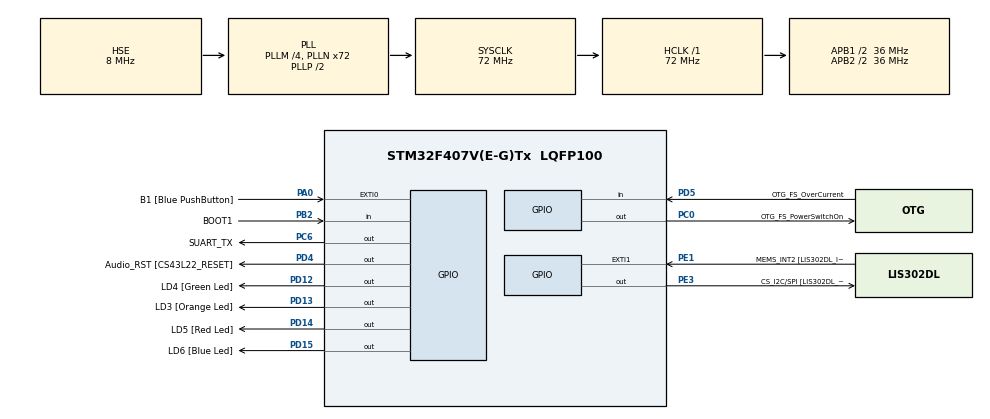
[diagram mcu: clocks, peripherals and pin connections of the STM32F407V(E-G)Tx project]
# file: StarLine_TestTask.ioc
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Mcu.Family=STM32F4
Mcu.Name=STM32F407V(E-G)Tx
Mcu.Package=LQFP100
NVIC.HASH_RNG_IRQn=true\:0\:0\:false\:false\:true\:true\:true
NVIC.PriorityGroup=NVIC_PRIORITYGROUP_0
NVIC.TIM8_TRG_COM_TIM14_IRQn=true\:0\:0\:false\:false\:true\:true\:true
PA0-WKUP.GPIO_Label=B1 [Blue PushButton]
PA0-WKUP.Signal=GPXTI0
PA10.GPIO_Label=OTG_FS_ID
PA10.GPIO_Mode=GPIO_MODE_AF_PP
PA10.GPIO_PuPd=GPIO_NOPULL
PA10.GPIO_Speed=GPIO_SPEED_FREQ_LOW
PA10.Signal=USB_OTG_FS_ID
PA11.GPIO_Label=OTG_FS_DM
PA11.GPIO_Mode=GPIO_MODE_AF_PP
PA11.GPIO_PuPd=GPIO_NOPULL
PA11.GPIO_Speed=GPIO_SPEED_FREQ_LOW
PA11.Signal=USB_OTG_FS_DM
PA12.GPIO_Label=OTG_FS_DP
PA12.GPIO_Mode=GPIO_MODE_AF_PP
PA12.GPIO_PuPd=GPIO_NOPULL
PA12.GPIO_Speed=GPIO_SPEED_FREQ_LOW
PA12.Signal=USB_OTG_FS_DP
PA13.GPIO_Label=SWDIO
PA13.Mode=Trace_Asynchronous_SW
PA13.Signal=SYS_JTMS-SWDIO
PA14.GPIO_Label=SWCLK
PA14.Mode=Trace_Asynchronous_SW
PA14.Signal=SYS_JTCK-SWCLK
PA4.GPIO_Label=I2S3_WS [CS43L22_LRCK]
PA4.GPIO_Mode=GPIO_MODE_AF_PP
PA4.GPIO_PuPd=GPIO_NOPULL
PA4.GPIO_Speed=GPIO_SPEED_FREQ_LOW
PA4.Signal=I2S3_WS
PA5.GPIO_Label=SPI1_SCK [LIS302DL_SCL/SPC]
PA5.GPIO_Mode=GPIO_MODE_AF_PP
PA5.GPIO_PuPd=GPIO_NOPULL
PA5.GPIO_Speed=GPIO_SPEED_FREQ_LOW
PA5.Signal=SPI1_SCK
PA6.GPIO_Label=SPI1_MISO [LIS302DL_SDO]
PA6.GPIO_Mode=GPIO_MODE_AF_PP
PA6.GPIO_PuPd=GPIO_NOPULL
PA6.GPIO_Speed=GPIO_SPEED_FREQ_LOW
PA6.Signal=SPI1_MISO
PA7.GPIO_Label=SPI1_MOSI [LIS302DL_SDA/SDI/SDO]
PA7.GPIO_Mode=GPIO_MODE_AF_PP
PA7.GPIO_PuPd=GPIO_NOPULL
PA7.GPIO_Speed=GPIO_SPEED_FREQ_LOW
PA7.Signal=SPI1_MOSI
PA9.GPIO_Label=VBUS_FS
PA9.GPIO_Mode=GPIO_MODE_INPUT
PA9.GPIO_PuPd=GPIO_NOPULL
PA9.Signal=USB_OTG_FS_VBUS
PB10.GPIO_Label=CLK_IN [MP45DT02_CLK]
PB10.GPIO_Mode=GPIO_MODE_AF_PP
PB10.GPIO_PuPd=GPIO_NOPULL
PB10.GPIO_Speed=GPIO_SPEED_FREQ_LOW
PB10.Signal=I2S2_CK
PB2.GPIO_Label=BOOT1
PB2.GPIO_Mode=GPIO_MODE_INPUT
PB2.GPIO_PuPd=GPIO_NOPULL
PB2.Signal=GPIO_Input
PB3.GPIO_Label=SWO
PB3.Mode=Trace_Asynchronous_SW
PB3.Signal=SYS_JTDO-SWO
PB6.GPIO_Label=Audio_SCL [CS43L22_SCL]
PB6.GPIO_Mode=GPIO_MODE_AF_OD
PB6.GPIO_PuPd=GPIO_NOPULL
PB6.GPIO_Speed=GPIO_SPEED_FREQ_LOW
PB6.Signal=I2C1_SCL
PB9.GPIO_Label=Audio_SDA [CS43L22_SDA]
PB9.GPIO_Mode=GPIO_MODE_AF_OD
PB9.GPIO_PuPd=GPIO_NOPULL
PB9.GPIO_Speed=GPIO_SPEED_FREQ_LOW
PB9.Signal=I2C1_SDA
PC0.GPIO_Label=OTG_FS_PowerSwitchOn
PC0.GPIO_PuPd=GPIO_NOPULL
PC0.GPIO_Speed=GPIO_SPEED_FREQ_LOW
PC0.PinState=GPIO_PIN_SET
PC0.Signal=GPIO_Output
PC10.GPIO_Label=I2S3_SCK [CS43L22_SCLK]
PC10.GPIO_Mode=GPIO_MODE_AF_PP
PC10.GPIO_PuPd=GPIO_NOPULL
PC10.GPIO_Speed=GPIO_SPEED_FREQ_LOW
PC10.Signal=I2S3_CK
PC12.GPIO_Label=I2S3_SD [CS43L22_SDIN]
PC12.GPIO_Mode=GPIO_MODE_AF_PP
PC12.GPIO_PuPd=GPIO_NOPULL
PC12.GPIO_Speed=GPIO_SPEED_FREQ_LOW
PC12.Signal=I2S3_SD
PC14-OSC32_IN.GPIO_Label=PC14-OSC32_IN
PC14-OSC32_IN.Signal=RCC_OSC32_IN
PC15-OSC32_OUT.GPIO_Label=PC15-OSC32_OUT
PC15-OSC32_OUT.Signal=RCC_OSC32_OUT
PC3.GPIO_Label=PDM_OUT [MP45DT02_DOUT]
PC3.GPIO_Mode=GPIO_MODE_AF_PP
PC3.GPIO_PuPd=GPIO_NOPULL
PC3.GPIO_Speed=GPIO_SPEED_FREQ_LOW
PC3.Signal=I2S2_SD
PC6.GPIO_Label=SUART_TX
PC6.PinState=GPIO_PIN_SET
PC6.Signal=GPIO_Output
PC7.GPIO_Label=I2S3_MCK [CS43L22_MCLK]
PC7.GPIO_Mode=GPIO_MODE_AF_PP
PC7.GPIO_PuPd=GPIO_NOPULL
PC7.GPIO_Speed=GPIO_SPEED_FREQ_LOW
PC7.Signal=I2S3_MCK
PD12.GPIO_Label=LD4 [Green Led]
PD12.GPIO_PuPd=GPIO_NOPULL
PD12.GPIO_Speed=GPIO_SPEED_FREQ_LOW
PD12.Signal=GPIO_Output
PD13.GPIO_Label=LD3 [Orange Led]
PD13.GPIO_PuPd=GPIO_NOPULL
PD13.GPIO_Speed=GPIO_SPEED_FREQ_LOW
PD13.Signal=GPIO_Output
PD14.GPIO_Label=LD5 [Red Led]
PD14.GPIO_PuPd=GPIO_NOPULL
PD14.GPIO_Speed=GPIO_SPEED_FREQ_LOW
PD14.Signal=GPIO_Output
PD15.GPIO_Label=LD6 [Blue Led]
PD15.GPIO_PuPd=GPIO_NOPULL
PD15.GPIO_Speed=GPIO_SPEED_FREQ_LOW
PD15.Signal=GPIO_Output
PD4.GPIO_Label=Audio_RST [CS43L22_RESET]
PD4.GPIO_PuPd=GPIO_NOPULL
PD4.GPIO_Speed=GPIO_SPEED_FREQ_LOW
PD4.Signal=GPIO_Output
PD5.GPIO_Label=OTG_FS_OverCurrent
PD5.GPIO_Mode=GPIO_MODE_INPUT
PD5.GPIO_PuPd=GPIO_NOPULL
PD5.Signal=GPIO_Input
PE1.GPIO_Label=MEMS_INT2 [LIS302DL_INT2]
PE1.GPIO_ModeDefaultEXTI=GPIO_MODE_EVT_RISING
PE1.GPIO_PuPd=GPIO_NOPULL
PE1.Signal=GPXTI1
PE3.GPIO_Label=CS_I2C/SPI [LIS302DL_CS_I2C/SPI]
PE3.GPIO_PuPd=GPIO_NOPULL
PE3.GPIO_Speed=GPIO_SPEED_FREQ_LOW
PE3.Signal=GPIO_Output
PH0-OSC_IN.GPIO_Label=PH0-OSC_IN
PH0-OSC_IN.Mode=HSE-External-Oscillator
PH0-OSC_IN.Signal=RCC_OSC_IN
PH1-OSC_OUT.GPIO_Label=PH1-OSC_OUT
PH1-OSC_OUT.Mode=HSE-External-Oscillator
PH1-OSC_OUT.Signal=RCC_OSC_OUT
ProjectManager.HeapSize=0x200
ProjectManager.StackSize=0x400
ProjectManager.TargetToolchain=EWARM V8
RCC.48MHZClocksFreq_Value=48000000
RCC.AHBFreq_Value=72000000
RCC.APB1CLKDivider=RCC_HCLK_DIV2
RCC.APB1Freq_Value=36000000
RCC.APB1TimFreq_Value=72000000
RCC.APB2CLKDivider=RCC_HCLK_DIV2
RCC.APB2Freq_Value=36000000
RCC.APB2TimFreq_Value=72000000
RCC.CortexFreq_Value=72000000
RCC.HCLKFreq_Value=72000000
RCC.HSE_VALUE=8000000
RCC.HSI_VALUE=16000000
RCC.LSE_VALUE=32768
RCC.PLLM=4
RCC.PLLN=72
RCC.PLLQ=3
RCC.PLLSourceVirtual=RCC_PLLSOURCE_HSE
RCC.RCC_RTC_Clock_SourceVirtual=RCC_RTCCLKSOURCE_HSE_DIV8
RCC.RCC_RTC_Clock_Source_FROM_HSE=RCC_RTCCLKSOURCE_HSE_DIV8
RCC.SYSCLKFreq_VALUE=72000000
RCC.SYSCLKSource=RCC_SYSCLKSOURCE_PLLCLK
RCC.VCOOutputFreq_Value=144000000
RTC.SynchPrediv=10000
TIM14.AutoReloadPreload=TIM_AUTORELOAD_PRELOAD_ENABLE
VP_RNG_VS_RNG.Mode=RNG_Activate
VP_RTC_VS_RTC_Activate.Mode=RTC_Enabled
VP_TIM14_VS_ClockSourceINT.Mode=Enable_Timer
board=STM32F407G-DISC1

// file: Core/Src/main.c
/* USER CODE BEGIN Header */
/**
  ******************************************************************************
  * @file           : main.c
  * @brief          : Main program body
  ******************************************************************************
  * @attention
  *
  * <h2><center>&copy; Copyright (c) 2021 STMicroelectronics.
  * All rights reserved.</center></h2>
  *
  * This software component is licensed by ST under BSD 3-Clause license,
  * the "License"; You may not use this file except in compliance with the
  * License. You may obtain a copy of the License at:
  *                        opensource.org/licenses/BSD-3-Clause
  *
  ******************************************************************************
  */
/* USER CODE END Header */
#include "main.h"
#include "rng.h"
#include "rtc.h"
#include "tim.h"
#include "gpio.h"

/* USER CODE BEGIN Includes */
#include "mutex.h"
#include "rbuff_s.h"
#include "uart_s.h"
/* USER CODE END Includes */

/* USER CODE BEGIN PV */

static mutex_t s_uart_used; /* locked while usart_s transfer data */
static char    rb_memory_block[RINGBUFF_S_MEM_SIZE];
static rbuff_s *rb = (rbuff_s *)rb_memory_block;
static volatile uint32_t random_bytes_remain;

/* USER CODE END PV */

void SystemClock_Config(void);

/* USER CODE BEGIN 0 */

/* honeypot for detect bugs by stacktrace */
void my_bug(void)
{
  while(1);
}

/* OK, hw_init() already competed by STMicroelectronics HAL drivers */

static void sw_init(void)
{
    mutex_unlock(&s_uart_used);
    while( s_uart->init(s_uart, 115200, 8, 'n', 1) != E_SUART_SUCCESS);

    if (rbuff_s_init((void *)rb_memory_block, RINGBUFF_S_MEM_SIZE)) my_bug();
}

static void s_uart_send_next(void)
{
    int err;
    uint8_t data;

    err = rbuff_s_get(rb, &data);
    if (err == E_RBS_EMPTY) {
      mutex_unlock(&s_uart_used); /* no more data for transfer */
      HAL_GPIO_TogglePin(LD3_GPIO_Port, LD3_Pin); /* RED Toggle on empty */
      return;
    } else if (err) { /* any other error */
      my_bug();
    } else { /* s_uart->send must return SUCCESS (zero) here */
      if (s_uart->send(s_uart, data, &s_uart_send_next)) my_bug();
    };
}

/*
 * Random delay, then ramdom size array off random data
 * put to rb, and start transfer if required
 */
void rng_ready(RNG_HandleTypeDef *hrng, uint32_t random32bit)
{
    /* FixMe: speed optimisation required */
    /* only one RNG module on chip */
    if (hrng->Instance != RNG) my_bug();
    uint8_t data = (random32bit & 0x0000007F); /* FILTER: only LOW ASCII */
    if (data < 0x20) data=0x20;                /* FILTER: no scecial chars */
    /* rb MUST not be locked in some priority ISR handlers, so
       rbuff_s_put must allways return success (zero) */
    if (rbuff_s_put(rb, data)) my_bug();
    if(--random_bytes_remain)
      HAL_RNG_GenerateRandomNumber_IT(hrng);
}

static void producer_task(void)
{
    uint32_t time_req;
    uint32_t rng_get;

    /* yes, this single task in primary code cicle, so let's use blocking */

    /* random delay */
    while(HAL_RNG_GenerateRandomNumber(&hrng, &rng_get) != HAL_OK);
    rng_get %= MAX_DELAY_MS; /* 0 ... (MAX_DELAY_MS -1) */
    time_req = HAL_GetTick() + rng_get;
    while( (time_req - HAL_GetTick()) > 0); /* FixMe: on overflow */

    /* random size */
    while(HAL_RNG_GenerateRandomNumber(&hrng, &rng_get) != HAL_OK);
    rng_get %= MAX_TEMP_ARRAY_SIZE; /* 0 ... (MAX_TEMP_ARRAY_SIZE-1) */
    random_bytes_remain = rng_get;

    if(random_bytes_remain) {
        if(HAL_RNG_RegisterReadyDataCallback(&hrng, &rng_ready) != HAL_OK) my_bug();
        while(HAL_RNG_GenerateRandomNumber_IT(&hrng) != HAL_OK);
        while(random_bytes_remain);
        while(HAL_RNG_UnRegisterReadyDataCallback(&hrng) != HAL_OK);

        if(!mutex_try_lock(&s_uart_used)) /* s_uart ready for receive data */
            s_uart_send_next();
        else
            HAL_GPIO_TogglePin(LD4_GPIO_Port, LD4_Pin); /* GREEN toogle on non-empty */
    }
}

/* USER CODE END 0 */

int main(void)
{

  /* MCU Configuration--------------------------------------------------------*/

  /* Reset of all peripherals, Initializes the Flash interface and the Systick. */
  HAL_Init();

  /* Configure the system clock */
  SystemClock_Config();

  /* Initialize all configured peripherals */
  MX_GPIO_Init();
  MX_TIM14_Init();
  MX_RNG_Init();
  MX_RTC_Init();
  /* USER CODE BEGIN 2 */

  sw_init();
  HAL_GPIO_WritePin(LD4_GPIO_Port, LD4_Pin, GPIO_PIN_RESET);

  /* USER CODE END 2 */

  /* Infinite loop */
  /* USER CODE BEGIN WHILE */
  while (1)
  {
    /* delay, then put random size of random data to rb, start transfer if can */
    producer_task();
    /* USER CODE END WHILE */

  }
}

void SystemClock_Config(void)
{
  RCC_OscInitTypeDef RCC_OscInitStruct = {0};
  RCC_ClkInitTypeDef RCC_ClkInitStruct = {0};
  RCC_PeriphCLKInitTypeDef PeriphClkInitStruct = {0};

  /** Configure the main internal regulator output voltage
  */
  __HAL_RCC_PWR_CLK_ENABLE();
  __HAL_PWR_VOLTAGESCALING_CONFIG(PWR_REGULATOR_VOLTAGE_SCALE1);
  /** Initializes the RCC Oscillators according to the specified parameters
  * in the RCC_OscInitTypeDef structure.
  */
  RCC_OscInitStruct.OscillatorType = RCC_OSCILLATORTYPE_HSE;
  RCC_OscInitStruct.HSEState = RCC_HSE_ON;
  RCC_OscInitStruct.PLL.PLLState = RCC_PLL_ON;
  RCC_OscInitStruct.PLL.PLLSource = RCC_PLLSOURCE_HSE;
  RCC_OscInitStruct.PLL.PLLM = 4;
  RCC_OscInitStruct.PLL.PLLN = 72;
  RCC_OscInitStruct.PLL.PLLP = RCC_PLLP_DIV2;
  RCC_OscInitStruct.PLL.PLLQ = 3;
  if (HAL_RCC_OscConfig(&RCC_OscInitStruct) != HAL_OK)
  {
    Error_Handler();
  }
  /** Initializes the CPU, AHB and APB buses clocks
  */
  RCC_ClkInitStruct.ClockType = RCC_CLOCKTYPE_HCLK|RCC_CLOCKTYPE_SYSCLK
                              |RCC_CLOCKTYPE_PCLK1|RCC_CLOCKTYPE_PCLK2;
  RCC_ClkInitStruct.SYSCLKSource = RCC_SYSCLKSOURCE_PLLCLK;
  RCC_ClkInitStruct.AHBCLKDivider = RCC_SYSCLK_DIV1;
  RCC_ClkInitStruct.APB1CLKDivider = RCC_HCLK_DIV2;
  RCC_ClkInitStruct.APB2CLKDivider = RCC_HCLK_DIV2;

  if (HAL_RCC_ClockConfig(&RCC_ClkInitStruct, FLASH_LATENCY_2) != HAL_OK)
  {
    Error_Handler();
  }
  PeriphClkInitStruct.PeriphClockSelection = RCC_PERIPHCLK_RTC;
  PeriphClkInitStruct.RTCClockSelection = RCC_RTCCLKSOURCE_HSE_DIV8;
  if (HAL_RCCEx_PeriphCLKConfig(&PeriphClkInitStruct) != HAL_OK)
  {
    Error_Handler();
  }
}

void Error_Handler(void)
{
  __disable_irq();
  while (1)
  {
  }
}

/************************ (C) COPYRIGHT STMicroelectronics *****END OF FILE****/
